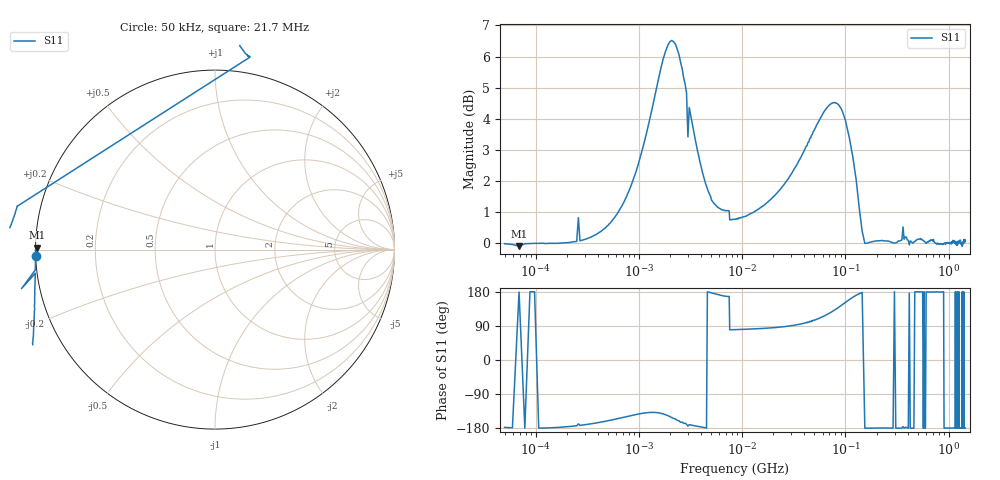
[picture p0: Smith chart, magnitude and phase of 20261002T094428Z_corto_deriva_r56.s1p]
! piloto_deriva / corto_deriva / r56
# HZ S RI R 50
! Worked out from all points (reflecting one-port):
!   501 points, 50 kHz to 1.45 GHz, reference 50 ohm
!   lowest |S11| = -0.1 dB at 69 kHz (marker M1), VSWR 196.39, Z = 0.255 + j0.278 ohm
!   phase of S11 starts at -178 deg and turns -2 deg over the sweep
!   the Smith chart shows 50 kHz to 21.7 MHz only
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50000  -0.9983 -0.0369
69000  -0.9898 0.011
183000  -1 -0.052
363500  -1.004 -0.2252
658000  -1.015 -0.5114
1180000  -1.137 -0.9783
1630000  -1.477 -1.212
1990000  -1.812 -1.077
2440000  -1.893 -0.6756
3070000  -1.631 -0.268
4600000  -1.223 0.00384
7300000  -1.103 0.2419
7750000  0.1942 1.074
8560000  0.1868 1.078
1.9e7  0.1092 1.173
3.16e7  -0.0354 1.313
4.6e7  -0.2789 1.45
5.68e7  -0.5711 1.481
6.76e7  -0.8591 1.419
7.93e7  -1.139 1.235
9.37e7  -1.356 0.9006
9.82e7  -1.383 0.7855
1e8  -1.391 0.7381
1.18e8  -1.331 0.3398
1.36e8  -1.134 0.1002
1.63e8  -1.001 -0.00321
4.06e8  -1.012 -0.00264
1.45e9  -1.009 -0.00667
